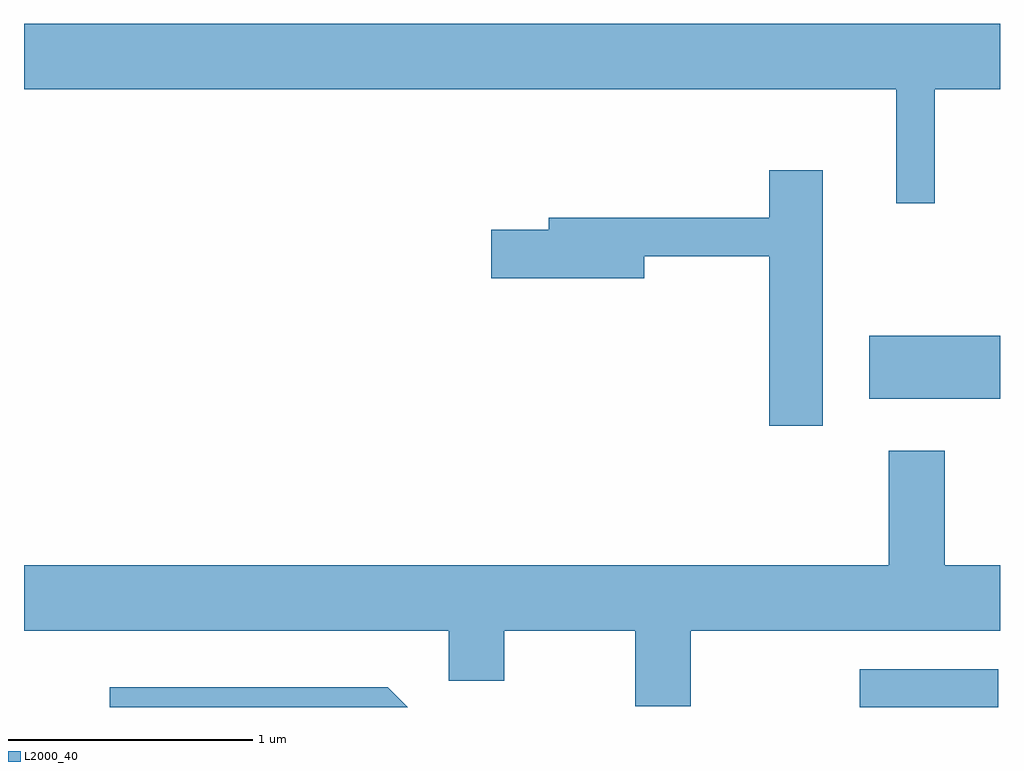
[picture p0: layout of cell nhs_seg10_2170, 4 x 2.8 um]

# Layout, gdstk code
import gdstk
lib = gdstk.Library(unit=1e-6, precision=1e-09)
def R(c, l, rs):  # rectangles x0, y0, x1, y1
    for r in rs: c.add(gdstk.rectangle(r[:2], r[2:], *l))
def P(c, l, *ps):  # polygons
    for p in ps: c.add(gdstk.Polygon(p, *l))
L2000_40 = (2000, 40)

nhs_seg10_2170 = lib.new_cell('nhs_seg10_2170')
R(nhs_seg10_2170, L2000_40, [(253.036,2082.522,253.604,2082.679), (253.076,2083.786,253.611,2084.044)])
P(nhs_seg10_2170, L2000_40, [(253.344,2085.056),(253.611,2085.056),(253.611,2085.324),(249.611,2085.324),(249.611,2085.056),(253.186,2085.056),(253.186,2084.588),(253.344,2084.588)],
  [(252.884,2084.724),(252.666,2084.724),(252.666,2084.529),(251.761,2084.529),(251.761,2084.479),(251.526,2084.479),(251.526,2084.281),(252.154,2084.281),(252.154,2084.371),(252.666,2084.371),(252.666,2083.676),(252.884,2083.676)],
  [(252.344,2082.836),(253.611,2082.836),(253.611,2083.104),(253.384,2083.104),(253.384,2083.574),(253.156,2083.574),(253.156,2083.104),(249.611,2083.104),(249.611,2082.836),(251.351,2082.836),(251.351,2082.631),(251.579,2082.631),(251.579,2082.836),(252.116,2082.836),(252.116,2082.526),(252.344,2082.526)],
  [(251.102,2082.604),(249.963,2082.604),(249.963,2082.522),(251.184,2082.522)])

lib.write_gds('nhs_seg10_2170.gds')
